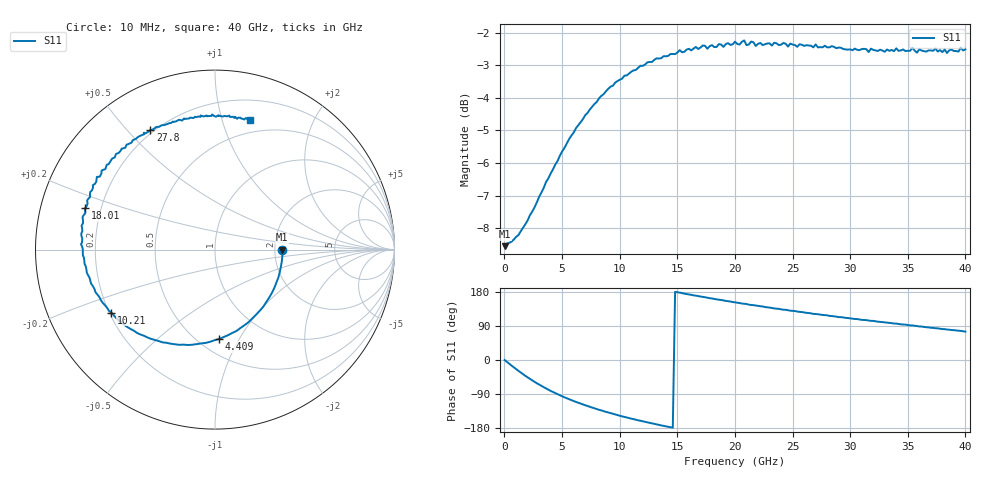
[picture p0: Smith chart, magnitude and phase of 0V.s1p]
!Agilent Technologies,N5227A,US51270434,A.10.00.00
!Agilent N5227A: A.10.00.00
!Date: Monday, January 26, 2026 17:24:07
!Correction: S11(Full 1 Port(1))
!S1P File: Measurement: S11:
# Hz S  dB  R 50
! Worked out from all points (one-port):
!   201 points, 10 MHz to 40 GHz, reference 50 ohm
!   lowest |S11| = -8.6 dB at 10 MHz (marker M1), VSWR 2.19, Z = 110 - j0.0812 ohm
!   |S11| at or under -10 dB: nowhere
!   S11 on the Smith chart (normalised r, x): 10 MHz: 2.19, -0.00; 4.409 GHz: 0.62, -0.83; 10.21 GHz: 0.21, -0.27; 18.01 GHz: 0.14, +0.15; 27.8 GHz: 0.18, +0.58; 40 GHz: 0.38, +1.24
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1e7  -8.56 -0.0
1.00975e9  -8.27 -24.0
1.80955e9  -7.88 -41.8
3.00925e9  -7.04 -64.9
3.6091e9  -6.58 -75.1
4.4089e9  -6.05 -87.4
5.00875e9  -5.64 -95.6
5.80855e9  -5.16 -105.8
7.00825e9  -4.53 -119.4
8.4079e9  -3.94 -133.0
1.00075e10  -3.44 -147.0
1.020745e10  -3.41 -148.7
1.24069e10  -2.91 -164.6
1.380655e10  -2.72 -173.8
1.500625e10  -2.61 178.7
1.660585e10  -2.44 169.9
1.80055e10  -2.38 162.4
2.0005e10  -2.27 152.2
2.340415e10  -2.31 136.1
2.500375e10  -2.36 129.6
2.660335e10  -2.40 123.2
2.68033e10  -2.45 121.6
2.780305e10  -2.40 118.4
3.00025e10  -2.51 109.8
3.180205e10  -2.49 103.2
3.500125e10  -2.55 92.2
3.740065e10  -2.49 83.9
4e10  -2.51 74.9
